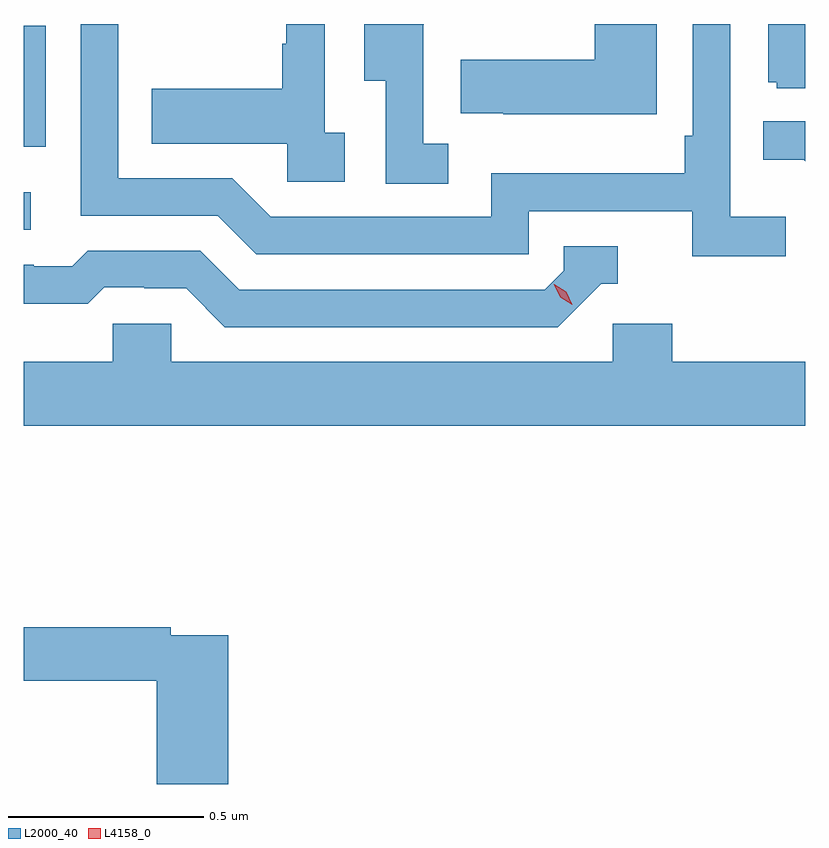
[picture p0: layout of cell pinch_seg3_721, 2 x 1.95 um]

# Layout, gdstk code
import gdstk
lib = gdstk.Library(unit=1e-6, precision=1e-09)
def R(c, l, rs):  # rectangles x0, y0, x1, y1
    for r in rs: c.add(gdstk.rectangle(r[:2], r[2:], *l))
def P(c, l, *ps):  # polygons
    for p in ps: c.add(gdstk.Polygon(p, *l))
L2000_40 = (2000, 40)
L4158_0 = (4158, 0)

pinch_seg3_721 = lib.new_cell('pinch_seg3_721')
R(pinch_seg3_721, L2000_40, [(1106.272,677.442,1106.29,677.538), (1106.272,677.655,1106.328,677.964)])
P(pinch_seg3_721, L2000_40, [(1108.222,677.476),(1108.08,677.476),(1108.08,677.969),(1107.984,677.969),(1107.984,677.683),(1107.964,677.683),(1107.964,677.587),(1107.468,677.587),(1107.468,677.475),(1106.904,677.475),(1106.805,677.574),(1106.514,677.574),(1106.514,677.969),(1106.418,677.969),(1106.418,677.478),(1106.768,677.478),(1106.867,677.379),(1107.564,677.379),(1107.564,677.49),(1107.983,677.49),(1107.983,677.374),(1108.222,677.374)],
  [(1107.892,677.969),(1107.734,677.969),(1107.734,677.878),(1107.391,677.878),(1107.391,677.741),(1107.499,677.741),(1107.499,677.738),(1107.892,677.738)],
  [(1107.094,677.69),(1107.042,677.69),(1107.042,677.969),(1106.944,677.969),(1106.944,677.918),(1106.934,677.918),(1106.934,677.803),(1106.599,677.803),(1106.599,677.663),(1106.946,677.663),(1106.946,677.565),(1107.094,677.565)],
  [(1107.358,677.663),(1107.294,677.663),(1107.294,677.967),(1107.296,677.967),(1107.296,677.969),(1107.143,677.969),(1107.143,677.824),(1107.198,677.824),(1107.198,677.56),(1107.358,677.56)],
  [(1108.272,677.969),(1108.178,677.969),(1108.178,677.82),(1108.2,677.82),(1108.2,677.805),(1108.272,677.805)],
  [(1108.272,677.72),(1108.165,677.72),(1108.165,677.621),(1108.269,677.621),(1108.272,677.618)],
  [(1107.75,677.304),(1107.793,677.304),(1107.793,677.4),(1107.654,677.4),(1107.654,677.337),(1107.606,677.289),(1106.823,677.289),(1106.724,677.388),(1106.435,677.388),(1106.396,677.349),(1106.297,677.349),(1106.297,677.352),(1106.272,677.352),(1106.272,677.253),(1106.435,677.253),(1106.477,677.295),(1106.58,677.295),(1106.58,677.292),(1106.687,677.292),(1106.786,677.193),(1107.639,677.193)],
  [(1108.272,677.104),(1107.932,677.104),(1107.932,677.202),(1107.78,677.202),(1107.78,677.104),(1106.649,677.104),(1106.649,677.202),(1106.499,677.202),(1106.499,677.104),(1106.272,677.104),(1106.272,676.94),(1108.272,676.94)],
  [(1106.795,676.404),(1106.648,676.404),(1106.648,676.424),(1106.272,676.424),(1106.272,676.288),(1106.612,676.288),(1106.612,676.023),(1106.795,676.023)])
P(pinch_seg3_721, L4158_0, [(1107.676,677.25),(1107.645,677.269),(1107.629,677.302),(1107.629,677.302),(1107.63,677.302),(1107.66,677.283),(1107.676,677.25),(1107.676,677.25)])

lib.write_gds('pinch_seg3_721.gds')
